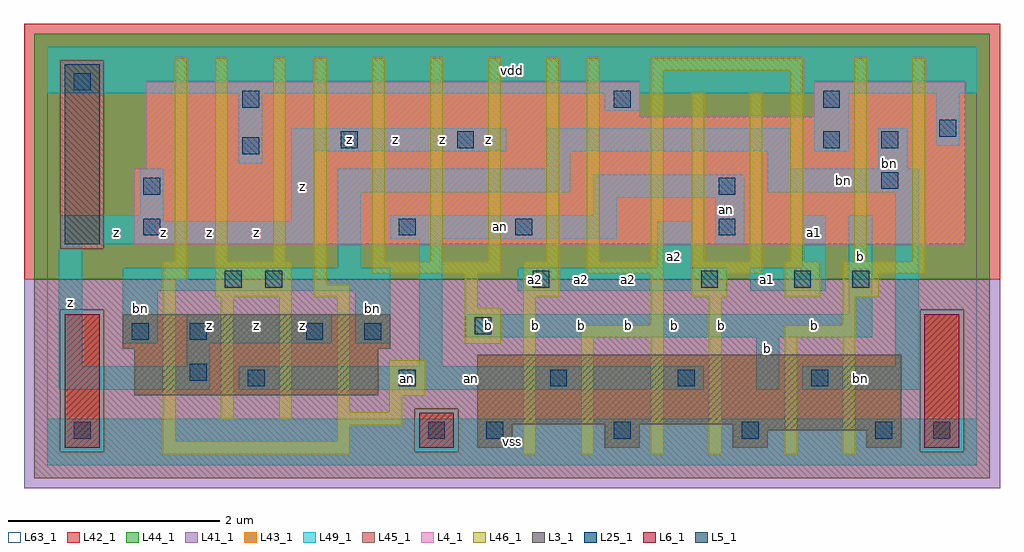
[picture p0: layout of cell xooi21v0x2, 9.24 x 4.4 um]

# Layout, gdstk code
import gdstk
lib = gdstk.Library(unit=1e-6, precision=1e-09)
def R(c, l, rs):  # rectangles x0, y0, x1, y1
    for r in rs: c.add(gdstk.rectangle(r[:2], r[2:], *l))
def A(c, l, x, y, w, h, nx, ny, dx, dy):  # array of equal rectangles
    R(c, l, [(x+i*dx, y+j*dy, x+i*dx+w, y+j*dy+h) for i in range(nx) for j in range(ny)])
L3_1 = (3, 1)
L4_1 = (4, 1)
L5_1 = (5, 1)
L6_1 = (6, 1)
L25_1 = (25, 1)
L41_1 = (41, 1)
L42_1 = (42, 1)
L43_1 = (43, 1)
L44_1 = (44, 1)
L45_1 = (45, 1)
L46_1 = (46, 1)
L49_1 = (49, 1)
L63_1 = (63, 1)

xooi21v0x2 = lib.new_cell('xooi21v0x2')
R(xooi21v0x2, L3_1, [(4.07,0.165,4.4,0.385), (5.28,0.165,5.61,0.385), (6.49,0.165,6.82,0.33), (7.755,0.165,8.085,0.33), (6.49,0.33,8.085,0.385), (4.07,0.385,8.085,1.045), (0.825,0.66,3.135,1.1), (0.715,1.1,3.245,1.43)])
R(xooi21v0x2, L4_1, [(0.825,2.09,8.69,2.805), (0.935,2.805,8.69,3.3), (0.935,3.3,5.61,3.63), (7.26,3.3,8.69,3.63)])
R(xooi21v0x2, L5_1, [(0.165,2.09,0.495,3.795)])
R(xooi21v0x2, L6_1, [(0.165,0.165,0.495,1.43), (3.52,0.165,3.85,0.495), (8.305,0.165,8.635,1.43)])
A(xooi21v0x2, L25_1, 4.155, 0.25, 0.16, 0.16, 3, 1, 1.21, 0)
A(xooi21v0x2, L25_1, 1.9, 0.745, 0.16, 0.16, 3, 1, 1.43, 0)
R(xooi21v0x2, L25_1, [(0.25,0.25,0.41,0.41), (3.605,0.25,3.765,0.41), (7.84,0.25,8,0.41), (8.39,0.25,8.55,0.41), (5.97,0.745,6.13,0.905), (7.235,0.745,7.395,0.905), (1.35,0.8,1.51,0.96), (0.8,1.185,0.96,1.345), (1.35,1.185,1.51,1.345), (2.45,1.185,2.61,1.345), (3,1.185,3.16,1.345), (4.045,1.24,4.205,1.4), (1.68,1.68,1.84,1.84), (2.065,1.68,2.225,1.84), (4.595,1.68,4.755,1.84), (6.19,1.68,6.35,1.84), (7.07,1.68,7.23,1.84), (7.62,1.68,7.78,1.84), (0.91,2.175,1.07,2.335), (3.33,2.175,3.49,2.335), (4.43,2.175,4.59,2.335), (6.355,2.175,6.515,2.335), (0.91,2.56,1.07,2.72), (6.355,2.56,6.515,2.72), (7.895,2.615,8.055,2.775), (1.845,2.945,2.005,3.105), (2.78,3,2.94,3.16), (3.88,3,4.04,3.16), (7.345,3,7.505,3.16), (7.895,3,8.055,3.16), (8.445,3.11,8.605,3.27), (1.845,3.385,2.005,3.545), (5.365,3.385,5.525,3.545), (7.345,3.385,7.505,3.545), (0.25,3.55,0.41,3.71)])
R(xooi21v0x2, L41_1, [(-0.22,-0.22,9.02,1.76)])
R(xooi21v0x2, L42_1, [(-0.22,1.76,9.02,4.18)])
R(xooi21v0x2, L43_1, [(0.165,0.165,0.495,1.43), (3.52,0.165,3.85,0.495), (4.07,0.165,4.4,0.385), (5.28,0.165,5.61,0.385), (6.49,0.165,6.82,0.33), (7.755,0.165,8.085,0.33), (8.305,0.165,8.635,1.43), (6.49,0.33,8.085,0.385), (4.07,0.385,8.085,1.045), (0.825,0.66,3.135,1.1), (0.715,1.1,3.245,1.43), (0.165,2.09,0.495,3.795), (0.825,2.09,8.69,2.805), (0.935,2.805,8.69,3.3), (0.935,3.3,5.61,3.63), (7.26,3.3,8.69,3.63)])
R(xooi21v0x2, L44_1, [(0.125,0.125,0.535,1.47), (3.48,0.125,3.89,0.535), (8.265,0.125,8.675,1.47), (-0.125,1.76,8.925,2.05), (-0.125,2.05,0.125,3.835), (0.535,2.05,8.925,3.835), (-0.125,3.835,8.925,4.085)])
R(xooi21v0x2, L45_1, [(-0.125,-0.125,8.925,0.125), (-0.125,0.125,0.125,1.47), (0.535,0.125,3.48,0.535), (3.89,0.125,8.265,0.535), (8.675,0.125,8.925,1.47), (0.535,0.535,8.265,1.47), (-0.125,1.47,8.925,1.76), (0.125,2.05,0.535,3.835)])
A(xooi21v0x2, L46_1, 3.075, 1.93, 0.12, 1.925, 4, 1, 0.55, 0)
R(xooi21v0x2, L46_1, [(1.095,0.105,2.865,0.225), (4.505,0.105,4.625,1.59), (5.055,0.105,5.175,1.205), (5.715,0.105,5.835,1.205), (6.265,0.105,6.385,1.59), (6.98,0.105,7.1,1.205), (7.53,0.105,7.65,1.205), (1.095,0.225,1.215,1.755), (2.745,0.225,2.865,0.38), (2.745,0.38,3.36,0.5), (1.645,0.435,1.765,1.59), (2.195,0.435,2.315,1.59), (2.745,0.5,2.865,1.59), (3.24,0.5,3.36,0.655), (3.24,0.655,3.58,0.995), (3.955,1.15,4.295,1.49), (5.055,1.205,5.835,1.325), (6.98,1.205,7.65,1.325), (5.715,1.325,5.835,1.81), (7.53,1.325,7.65,1.59), (3.955,1.49,4.075,1.81), (1.59,1.59,2.315,1.93), (2.525,1.59,2.865,1.71), (4.505,1.59,4.845,1.93), (6.1,1.59,6.44,1.81), (6.98,1.59,7.32,1.93), (7.53,1.59,7.87,1.81), (2.525,1.71,2.645,3.855), (1.095,1.755,1.325,1.93), (3.075,1.81,4.295,1.93), (5.11,1.81,5.835,1.93), (6.1,1.81,6.77,1.93), (7.53,1.81,8.31,1.93), (1.205,1.93,1.325,3.855), (1.59,1.93,1.71,3.855), (2.14,1.93,2.26,3.855), (5.11,1.93,5.23,3.855), (5.715,1.93,5.835,3.735), (6.1,1.93,6.22,3.525), (6.65,1.93,6.77,3.525), (7.035,1.93,7.155,3.735), (7.64,1.93,7.76,3.855), (8.19,1.93,8.31,3.855), (5.715,3.735,7.155,3.855)])
R(xooi21v0x2, L49_1, [(0,0,8.8,0.44), (0.11,0.715,1.54,0.935), (1.815,0.715,6.215,0.935), (6.71,0.715,6.93,1.21), (7.15,0.715,8.25,0.935), (0.11,0.935,0.33,2.09), (1.32,0.935,1.54,1.155), (3.52,0.935,3.74,2.145), (8.03,0.935,8.25,2.585), (0.715,1.155,1.045,1.65), (1.32,1.155,2.695,1.43), (2.915,1.155,3.245,1.65), (3.96,1.21,7.81,1.43), (7.59,1.43,7.81,2.365), (0.715,1.65,3.245,1.87), (4.455,1.65,6.435,1.87), (6.655,1.65,7.37,1.87), (2.75,1.87,2.97,2.585), (5.775,1.87,6.105,2.31), (7.15,1.87,7.37,2.365), (0.11,2.09,2.53,2.31), (6.325,2.09,6.6,2.53), (3.245,2.145,5.39,2.365), (0.11,2.31,1.1,2.365), (2.31,2.31,2.53,2.97), (0.88,2.365,1.1,2.805), (5.17,2.365,5.39,2.53), (5.17,2.53,6.6,2.75), (2.75,2.585,4.95,2.805), (6.82,2.585,8.25,2.805), (4.73,2.805,4.95,2.97), (6.82,2.805,7.04,2.97), (7.865,2.805,8.14,3.19), (1.815,2.86,2.035,3.52), (2.31,2.97,4.345,3.19), (4.73,2.97,7.04,3.19), (7.26,2.97,7.59,3.52), (8.415,3.025,8.635,3.52), (5.28,3.355,5.61,3.52), (0,3.52,8.8,3.96)])
R(xooi21v0x2, L63_1, [(0,0,8.8,3.96)])
xooi21v0x2.add(gdstk.Label('an', (3.41,0.825), layer=49, texttype=1))
xooi21v0x2.add(gdstk.Label('z', (0.22,1.54), layer=49, texttype=1))
xooi21v0x2.add(gdstk.Label('bn', (0.88,1.485), layer=49, texttype=1))
xooi21v0x2.add(gdstk.Label('z', (0.66,2.2), layer=49, texttype=1))
xooi21v0x2.add(gdstk.Label('z', (1.1,2.2), layer=49, texttype=1))
xooi21v0x2.add(gdstk.Label('z', (1.54,1.32), layer=49, texttype=1))
xooi21v0x2.add(gdstk.Label('z', (1.98,1.32), layer=49, texttype=1))
xooi21v0x2.add(gdstk.Label('z', (2.42,1.32), layer=49, texttype=1))
xooi21v0x2.add(gdstk.Label('bn', (3.08,1.485), layer=49, texttype=1))
xooi21v0x2.add(gdstk.Label('z', (1.54,2.2), layer=49, texttype=1))
xooi21v0x2.add(gdstk.Label('z', (1.98,2.2), layer=49, texttype=1))
xooi21v0x2.add(gdstk.Label('z', (2.42,2.64), layer=49, texttype=1))
xooi21v0x2.add(gdstk.Label('z', (2.86,3.08), layer=49, texttype=1))
xooi21v0x2.add(gdstk.Label('z', (3.3,3.08), layer=49, texttype=1))
xooi21v0x2.add(gdstk.Label('vss', (4.4,0.22), layer=49, texttype=1))
xooi21v0x2.add(gdstk.Label('b', (4.18,1.32), layer=49, texttype=1))
xooi21v0x2.add(gdstk.Label('b', (4.62,1.32), layer=49, texttype=1))
xooi21v0x2.add(gdstk.Label('b', (5.06,1.32), layer=49, texttype=1))
xooi21v0x2.add(gdstk.Label('a2', (4.62,1.76), layer=49, texttype=1))
xooi21v0x2.add(gdstk.Label('a2', (5.06,1.76), layer=49, texttype=1))
xooi21v0x2.add(gdstk.Label('z', (3.74,3.08), layer=49, texttype=1))
xooi21v0x2.add(gdstk.Label('z', (4.18,3.08), layer=49, texttype=1))
xooi21v0x2.add(gdstk.Label('vdd', (4.4,3.74), layer=49, texttype=1))
xooi21v0x2.add(gdstk.Label('an', (4.015,0.825), layer=49, texttype=1))
xooi21v0x2.add(gdstk.Label('b', (5.5,1.32), layer=49, texttype=1))
xooi21v0x2.add(gdstk.Label('b', (5.94,1.32), layer=49, texttype=1))
xooi21v0x2.add(gdstk.Label('b', (6.38,1.32), layer=49, texttype=1))
xooi21v0x2.add(gdstk.Label('b', (6.82,1.1), layer=49, texttype=1))
xooi21v0x2.add(gdstk.Label('a1', (6.82,1.76), layer=49, texttype=1))
xooi21v0x2.add(gdstk.Label('a2', (5.5,1.76), layer=49, texttype=1))
xooi21v0x2.add(gdstk.Label('a2', (5.94,1.98), layer=49, texttype=1))
xooi21v0x2.add(gdstk.Label('an', (6.435,2.42), layer=49, texttype=1))
xooi21v0x2.add(gdstk.Label('an', (4.29,2.255), layer=49, texttype=1))
xooi21v0x2.add(gdstk.Label('bn', (7.7,0.825), layer=49, texttype=1))
xooi21v0x2.add(gdstk.Label('b', (7.26,1.32), layer=49, texttype=1))
xooi21v0x2.add(gdstk.Label('a1', (7.26,2.2), layer=49, texttype=1))
xooi21v0x2.add(gdstk.Label('b', (7.7,1.98), layer=49, texttype=1))
xooi21v0x2.add(gdstk.Label('bn', (7.535,2.695), layer=49, texttype=1))
xooi21v0x2.add(gdstk.Label('bn', (7.975,2.86), layer=49, texttype=1))

lib.write_gds('xooi21v0x2.gds')
